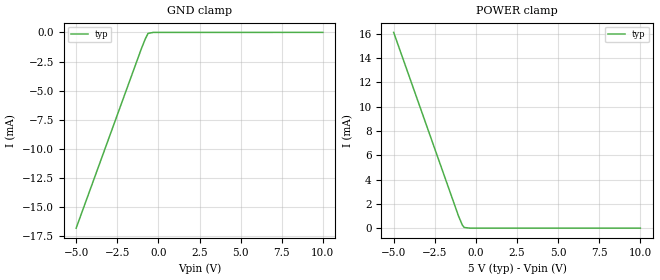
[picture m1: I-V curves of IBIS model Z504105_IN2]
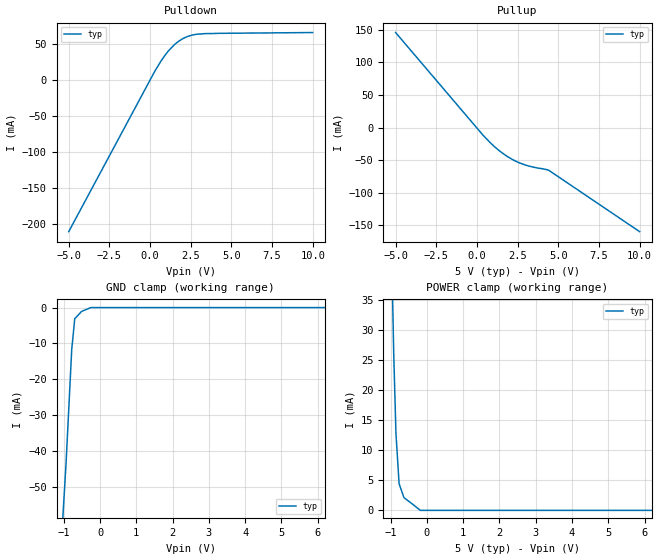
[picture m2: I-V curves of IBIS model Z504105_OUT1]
| YOU ARE ONLY AUTHORIZED TO USE THIS SOFTWARE
| ACCORDING TO LICENSOR'S LICENSE RESTRICTIONS.
[IBIS Ver] 3.1
[File Name] mc54hc42j.ibs
[File Rev] 2.0
[Source] Measured and created by ICX Technology
[Date] Friday 7/14/00 9:08:07 AM
[Copyright]
| (C) COPYRIGHT 1993-2000
| MENTOR GRAPHICS CORPORATION
| ICX STANDARD LIBRARY, ICX PROJECT MODELING,
| ICX CUSTOM MODELING, ICX VENDOR MODEL
| ALL RIGHTS RESERVED.
| THE FOLLOWING ARE TRADEMARKS OR SERVICE MARKS OF
| MENTOR GRAPHICS CORPORATION:ICX (R), ICX STANDARD
| LIBRARY(R), ICX PROJECT MODELING(R), ICX CUSTOM
| MODELING(R), qualityIBIS(TM), MODELVIEWER(TM),
| AND MODELEDITOR(TM)
| ALL COPIES OF SOFTWARE, INCLUDING BUT NOT LIMITED TO
| ANY MODIFICATIONS, ENHANCEMENTS OR DERIVATIVE WORKS,
| MUST CONTAIN ALL MENTOR GRAPHICS CORPORATION'S
| NOTICES AND LEGENDS, INCLUDING THOSE EMBEDDED IN
| SOFTWARE AND THOSE AFFIXED TO SOFTWARE MEDIUM
| AND CONTAINER, AS RECEIVED FROM MENTOR GRAPHICS
| CORPORATION.
|  ZAP Model Builder 2.7
[Component] MC54HC42J
[Manufacturer] OnSemiconductor
[Package]
| variable   typ   min   max
R_pkg  .212ohms NA NA
L_pkg  4.758nH NA NA
C_pkg  1.944pF NA NA
[Pin] signal_name  model_name  R_pin  L_pin C_pin
1 _Y0 Z504105_OUT1 .224 7.258n 2.683p
2 _Y1 Z504105_OUT1 .216 5.258n 2.19p
3 _Y2 Z504105_OUT1 .208 3.758n 1.697p
4 _Y3 Z504105_OUT1 .2 2.758n 1.204p
5 _Y4 Z504105_OUT1 .2 2.758n 1.204p
6 _Y5 Z504105_OUT1 .208 3.758n 1.697p
7 _Y6 Z504105_OUT1 .216 5.258n 2.19p
8 GROUND GND .224 7.258n 2.683p
9 _Y7 Z504105_OUT1 .224 7.258n 2.683p
10 _Y8 Z504105_OUT1 .216 5.258n 2.19p
11 _Y9 Z504105_OUT1 .208 3.758n 1.697p
12 D Z504105_IN2 .2 2.758n 1.204p
13 C Z504105_IN2 .2 2.758n 1.204p
14 B Z504105_IN2 .208 3.758n 1.697p
15 A Z504105_IN2 .216 5.258n 2.19p
16 VCC POWER .224 7.258n 2.683p
| Models and submodels in the file (2): Z504105_IN2 (Input), Z504105_OUT1 (Output)
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| (C) COPYRIGHT 1993-2000
| MENTOR GRAPHICS CORPORATION
| ICX STANDARD LIBRARY, ICX PROJECT MODELING,
| ICX CUSTOM MODELING, ICX VENDOR MODEL
| ALL RIGHTS RESERVED.
| THE FOLLOWING ARE TRADEMARKS OR SERVICE MARKS OF
| MENTOR GRAPHICS CORPORATION:ICX (R), ICX STANDARD
| LIBRARY(R), ICX PROJECT MODELING(R), ICX CUSTOM
| MODELING(R), qualityIBIS(TM), MODELVIEWER(TM),
| AND MODELEDITOR(TM)
| ALL COPIES OF SOFTWARE, INCLUDING BUT NOT LIMITED TO
| ANY MODIFICATIONS, ENHANCEMENTS OR DERIVATIVE WORKS,
| MUST CONTAIN ALL MENTOR GRAPHICS CORPORATION'S
| NOTICES AND LEGENDS, INCLUDING THOSE EMBEDDED IN
| SOFTWARE AND THOSE AFFIXED TO SOFTWARE MEDIUM
| AND CONTAINER, AS RECEIVED FROM MENTOR GRAPHICS
| CORPORATION.
| Model Application Version 1.89 2/18/99.
[Model] Z504105_IN2
Model_type Input
Vinl = 1.000V
Vinh = 3.500V
C_comp 4.000pF NA NA
| variable typ   min   max
[Voltage Range] 5.000V NA NA
[GND Clamp Reference] 0.000V NA NA
[POWER Clamp Reference] 5.000V NA NA
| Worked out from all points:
|   GND clamp passes 1 mA (typ) near -0.92 V on its own axis
|   POWER clamp passes 1 mA (typ) near -1.06 V on its own axis
[GND Clamp]
-5V       -16.79mA   NA         NA
-1.035V   -1.403mA   NA         NA
-802.5mV  -578.3uA   NA         NA
-626.5mV  -87.8uA    NA         NA
-313.3mV  -5.064uA   NA         NA
10V       -1.514uA   NA         NA
[POWER Clamp]
-5V       16.12mA    NA         NA
-1.063V   1.022mA    NA         NA
-830mV    267.6uA    NA         NA
-712mV    54.53uA    NA         NA
-356mV    0A         NA         NA
10V       0A         NA         NA
| (C) COPYRIGHT 1993-2000
| MENTOR GRAPHICS CORPORATION
| ICX STANDARD LIBRARY, ICX PROJECT MODELING,
| ICX CUSTOM MODELING, ICX VENDOR MODEL
| ALL RIGHTS RESERVED.
| THE FOLLOWING ARE TRADEMARKS OR SERVICE MARKS OF
| MENTOR GRAPHICS CORPORATION:ICX (R), ICX STANDARD
| LIBRARY(R), ICX PROJECT MODELING(R), ICX CUSTOM
| MODELING(R), qualityIBIS(TM), MODELVIEWER(TM),
| AND MODELEDITOR(TM)
| ALL COPIES OF SOFTWARE, INCLUDING BUT NOT LIMITED TO
| ANY MODIFICATIONS, ENHANCEMENTS OR DERIVATIVE WORKS,
| MUST CONTAIN ALL MENTOR GRAPHICS CORPORATION'S
| NOTICES AND LEGENDS, INCLUDING THOSE EMBEDDED IN
| SOFTWARE AND THOSE AFFIXED TO SOFTWARE MEDIUM
| AND CONTAINER, AS RECEIVED FROM MENTOR GRAPHICS
| CORPORATION.
| Model Application Version 1.89 2/18/99.
[Model] Z504105_OUT1
Model_type Output
Vref=0.000V
Rref=500.0Mohms
Cref=50.00pF
Vmeas=2.500V
C_comp 8.000pF NA NA
| variable typ   min   max
[Voltage Range] 5.000V NA NA
[POWER Clamp Reference] 5.000V NA NA
[Pullup Reference] 5.000V NA NA
[Pulldown Reference] 0.000V NA NA
[GND Clamp Reference] 0.000V NA NA
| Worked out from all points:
|   slope of the pulldown table from 0 to 0.75 V, typ, clamps not added: 25.9 ohm
|   slope of the pullup table from 0 to 0.75 V, typ, clamps not added: 36.3 ohm
[GND Clamp]
-5V       -499.4mA   NA         NA
-1.201V   -83.77mA   NA         NA
-1.069V   -65.82mA   NA         NA
-937.6mV  -43.5mA    NA         NA
-781.2mV  -11.7mA    NA         NA
-697.1mV  -3.101mA   NA         NA
-507.8mV  -1.066mA   NA         NA
-253.9mV  0A         NA         NA
10V       0A         NA         NA
[Pulldown]
-5V       -210.1mA   NA         NA
293mV     12.36mA    NA         NA
694.3mV   27.22mA    NA         NA
986.3mV   36.47mA    NA         NA
1.509V    49.38mA    NA         NA
2.182V    59.31mA    NA         NA
2.91V     63.7mA     NA         NA
10V       65.93mA    NA         NA
[Pullup]
-5V       145.6mA    NA         NA
371mV     -11.63mA   NA         NA
854mV     -24.11mA   NA         NA
1.401V    -36.01mA   NA         NA
1.889V    -44.7mA    NA         NA
2.637V    -54.37mA   NA         NA
3.311V    -59.77mA   NA         NA
4.404V    -65.3mA    NA         NA
10V       -159.5mA   NA         NA
[POWER Clamp]
-5V       2.244A     NA         NA
-1.362V   213.3mA    NA         NA
-1.104V   90.24mA    NA         NA
-1.006V   53.05mA    NA         NA
-915mV    25.91mA    NA         NA
-854mV    12.79mA    NA         NA
-767mV    4.417mA    NA         NA
-634mV    2.122mA    NA         NA
-366mV    889.2uA    NA         NA
-183mV    0A         NA         NA
10V       0A         NA         NA
[Ramp]
| variable typ min max
dV/dt_r 2.824/1.152n NA NA
dV/dt_f 2.824/1.506n NA NA
R_load = 500.0Ohms
